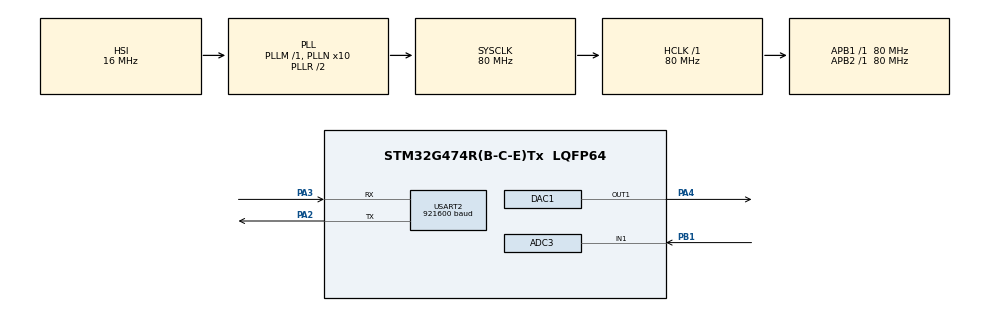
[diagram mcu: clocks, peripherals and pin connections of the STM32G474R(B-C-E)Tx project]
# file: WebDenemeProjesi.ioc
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ADC3.Channel-1\#ChannelRegularConversion=ADC_CHANNEL_1
ADC3.ClockPrescaler=ADC_CLOCK_ASYNC_DIV4
ADC3.ContinuousConvMode=DISABLE
ADC3.DMAContinuousRequests=ENABLE
ADC3.ExternalTrigConv=ADC_EXTERNALTRIG_T6_TRGO
ADC3.NbrOfConversionFlag=1
ADC3.OffsetNumber-1\#ChannelRegularConversion=ADC_OFFSET_NONE
ADC3.Overrun=ADC_OVR_DATA_OVERWRITTEN
ADC3.Rank-1\#ChannelRegularConversion=1
ADC3.SamplingTime-1\#ChannelRegularConversion=ADC_SAMPLETIME_247CYCLES_5
ADC3.master=1
DAC1.DAC_Trigger_OUT1-DAC_OUT1=DAC_TRIGGER_T7_TRGO
Dma.ADC3.1.Direction=DMA_PERIPH_TO_MEMORY
Dma.ADC3.1.EventEnable=DISABLE
Dma.ADC3.1.Instance=DMA1_Channel2
Dma.ADC3.1.MemDataAlignment=DMA_MDATAALIGN_HALFWORD
Dma.ADC3.1.MemInc=DMA_MINC_ENABLE
Dma.ADC3.1.Mode=DMA_CIRCULAR
Dma.ADC3.1.PeriphDataAlignment=DMA_PDATAALIGN_HALFWORD
Dma.ADC3.1.PeriphInc=DMA_PINC_DISABLE
Dma.ADC3.1.Polarity=HAL_DMAMUX_REQ_GEN_RISING
Dma.ADC3.1.Priority=DMA_PRIORITY_HIGH
Dma.ADC3.1.RequestNumber=1
Dma.ADC3.1.SignalID=NONE
Dma.ADC3.1.SyncEnable=DISABLE
Dma.ADC3.1.SyncPolarity=HAL_DMAMUX_SYNC_NO_EVENT
Dma.ADC3.1.SyncRequestNumber=1
Dma.ADC3.1.SyncSignalID=NONE
Dma.DAC1_CH1.2.Direction=DMA_MEMORY_TO_PERIPH
Dma.DAC1_CH1.2.EventEnable=DISABLE
Dma.DAC1_CH1.2.Instance=DMA1_Channel1
Dma.DAC1_CH1.2.MemDataAlignment=DMA_MDATAALIGN_HALFWORD
Dma.DAC1_CH1.2.MemInc=DMA_MINC_ENABLE
Dma.DAC1_CH1.2.Mode=DMA_CIRCULAR
Dma.DAC1_CH1.2.PeriphDataAlignment=DMA_PDATAALIGN_HALFWORD
Dma.DAC1_CH1.2.PeriphInc=DMA_PINC_DISABLE
Dma.DAC1_CH1.2.Polarity=HAL_DMAMUX_REQ_GEN_RISING
Dma.DAC1_CH1.2.Priority=DMA_PRIORITY_HIGH
Dma.DAC1_CH1.2.RequestNumber=1
Dma.DAC1_CH1.2.SignalID=NONE
Dma.DAC1_CH1.2.SyncEnable=DISABLE
Dma.DAC1_CH1.2.SyncPolarity=HAL_DMAMUX_SYNC_NO_EVENT
Dma.DAC1_CH1.2.SyncRequestNumber=1
Dma.DAC1_CH1.2.SyncSignalID=NONE
Dma.Request0=USART2_TX
Dma.Request1=ADC3
Dma.Request2=DAC1_CH1
Dma.USART2_TX.0.Direction=DMA_MEMORY_TO_PERIPH
Dma.USART2_TX.0.EventEnable=DISABLE
Dma.USART2_TX.0.Instance=DMA1_Channel3
Dma.USART2_TX.0.MemDataAlignment=DMA_MDATAALIGN_HALFWORD
Dma.USART2_TX.0.MemInc=DMA_MINC_ENABLE
Dma.USART2_TX.0.Mode=DMA_NORMAL
Dma.USART2_TX.0.PeriphDataAlignment=DMA_PDATAALIGN_BYTE
Dma.USART2_TX.0.PeriphInc=DMA_PINC_DISABLE
Dma.USART2_TX.0.Polarity=HAL_DMAMUX_REQ_GEN_RISING
Dma.USART2_TX.0.Priority=DMA_PRIORITY_HIGH
Dma.USART2_TX.0.RequestNumber=1
Dma.USART2_TX.0.SignalID=NONE
Dma.USART2_TX.0.SyncEnable=DISABLE
Dma.USART2_TX.0.SyncPolarity=HAL_DMAMUX_SYNC_NO_EVENT
Dma.USART2_TX.0.SyncRequestNumber=1
Dma.USART2_TX.0.SyncSignalID=NONE
Mcu.Family=STM32G4
Mcu.Name=STM32G474R(B-C-E)Tx
Mcu.Package=LQFP64
NVIC.DMA1_Channel1_IRQn=true\:0\:0\:false\:false\:true\:false\:true\:true
NVIC.DMA1_Channel2_IRQn=true\:0\:0\:false\:false\:true\:false\:true\:true
NVIC.DMA1_Channel3_IRQn=true\:0\:0\:false\:false\:true\:false\:true\:true
NVIC.PriorityGroup=NVIC_PRIORITYGROUP_4
PA2.Mode=Asynchronous
PA2.Signal=USART2_TX
PA3.Mode=Asynchronous
PA3.Signal=USART2_RX
PA4.Signal=COMP_DAC11_group
PB1.Mode=IN1-Single-Ended
PB1.Signal=ADC3_IN1
ProjectManager.HeapSize=0x200
ProjectManager.StackSize=0x400
ProjectManager.TargetToolchain=STM32CubeIDE
RCC.ADC12Freq_Value=80000000
RCC.ADC345Freq_Value=80000000
RCC.AHBFreq_Value=80000000
RCC.APB1Freq_Value=80000000
RCC.APB1TimFreq_Value=80000000
RCC.APB2Freq_Value=80000000
RCC.APB2TimFreq_Value=80000000
RCC.CortexFreq_Value=80000000
RCC.EXTERNAL_CLOCK_VALUE=12288000
RCC.HCLKFreq_Value=80000000
RCC.HSE_VALUE=8000000
RCC.HSI48_VALUE=48000000
RCC.HSI_VALUE=16000000
RCC.LSE_VALUE=32768
RCC.PLLN=10
RCC.PLLP=RCC_PLLP_DIV4
RCC.SYSCLKFreq_VALUE=80000000
RCC.SYSCLKSource=RCC_SYSCLKSOURCE_PLLCLK
RCC.USBFreq_Value=80000000
RCC.VCOOutputFreq_Value=160000000
SH.COMP_DAC11_group.0=DAC1_OUT1,DAC_OUT1
TIM6.PeriodNoDither=999
TIM6.Prescaler=799
TIM6.TIM_MasterOutputTrigger=TIM_TRGO_UPDATE
TIM7.PeriodNoDither=999
TIM7.Prescaler=\ 799
TIM7.TIM_MasterOutputTrigger=TIM_TRGO_UPDATE
USART2.BaudRate=921600
USART2.VirtualMode-Asynchronous=VM_ASYNC
VP_SYS_VS_DBSignals.Mode=DisableDeadBatterySignals
VP_TIM6_VS_ClockSourceINT.Mode=Enable_Timer
VP_TIM7_VS_ClockSourceINT.Mode=Enable_Timer
board=custom

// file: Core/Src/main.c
/* USER CODE BEGIN Header */
/**
  ******************************************************************************
  * @file           : main.c
  * @brief          : Main program body
  ******************************************************************************
  * @attention
  *
  * Copyright (c) 2025 STMicroelectronics.
  * All rights reserved.
  *
  * This software is licensed under terms that can be found in the LICENSE file
  * in the root directory of this software component.
  * If no LICENSE file comes with this software, it is provided AS-IS.
  *
  ******************************************************************************
  */
/* USER CODE END Header */
#include "main.h"

/* USER CODE BEGIN Includes */
#include <math.h>
#include <stdio.h>
#include <string.h>
#ifndef M_PI
#define M_PI 3.14159265358979323846f
#endif
/* USER CODE END Includes */

/* USER CODE BEGIN PD */
#define DEBUG_ASCII    1   // 1: ASCII debug çıktısı; 0: binary DMA
/* USER CODE END PD */

ADC_HandleTypeDef hadc3;
DMA_HandleTypeDef hdma_adc3;

DAC_HandleTypeDef hdac1;
DMA_HandleTypeDef hdma_dac1_ch1;

TIM_HandleTypeDef htim6;
TIM_HandleTypeDef htim7;

UART_HandleTypeDef huart2;
DMA_HandleTypeDef hdma_usart2_tx;

/* USER CODE BEGIN PV */
static volatile uint8_t dbg_gate = 0;  // çok fazla yazmayı engellemek için
volatile uint8_t uart_ready = 1;       // UART DMA hazır bayrağı

#define SINE_LEN       256
#define ADC_BUF_LEN    1024

volatile uint16_t adc_buf[ADC_BUF_LEN];  // ADC DMA buffer
uint16_t dac_wave[SINE_LEN];             // DAC sinüs dalga tablosu
/* USER CODE END PV */

void SystemClock_Config(void);
static void MX_GPIO_Init(void);
static void MX_DMA_Init(void);
static void MX_DAC1_Init(void);
static void MX_ADC3_Init(void);
static void MX_USART2_UART_Init(void);
static void MX_TIM7_Init(void);
static void MX_TIM6_Init(void);

/* USER CODE BEGIN 0 */

// ADC'yi güvenli şekilde yeniden başlat
static void Restart_ADC(void)
{
    HAL_ADC_Stop_DMA(&hadc3);
    (void)HAL_ADCEx_Calibration_Start(&hadc3, ADC_SINGLE_ENDED);
    memset((void*)adc_buf, 0, sizeof(adc_buf));
    (void)HAL_ADC_Start_DMA(&hadc3, (uint32_t*)adc_buf, ADC_BUF_LEN);
}

// ADC hata callback'i
void HAL_ADC_ErrorCallback(ADC_HandleTypeDef* hadc)
{
    if (hadc->Instance == ADC3) {
        Restart_ADC();
    }
}

// Sinüs dalga tablosunu doldur (DAC için 12-bit, 0-4095 aralığında)
void Fill_SineWave(void)
{
    const int mid = 2048;   // ~1.65V merkez (3.3V/2)
    const int amp = 1500;   // güvenli genlik (maksimum çıkış ~2.9V)

    for (int i = 0; i < SINE_LEN; i++)
    {
        float s = sinf(2.0f * M_PI * (float)i / (float)SINE_LEN);
        int v   = mid + (int)(amp * s);
        if (v < 0)    v = 0;
        if (v > 4095) v = 4095;
        dac_wave[i] = (uint16_t)v;
    }
}

// Debug fonksiyonu - ADC verilerini analiz ederek TeraTerm'e yazdır
static void UART_Print_ADC_Analysis(const uint16_t *src, size_t count)
{
    char line[80];

    // İstatistik analizi
    uint16_t local_min = 4095, local_max = 0;
    uint32_t local_sum = 0;

    for (size_t i = 0; i < count; i++)
    {
        if (src[i] < local_min) local_min = src[i];
        if (src[i] > local_max) local_max = src[i];
        local_sum += src[i];

        // İlk 8 değeri detaylı yazdır (voltaj = adc_val * 3300 / 4095 mV)
        if (i < 8) {
            uint32_t voltage_mv = (src[i] * 3300) / 4095;
            int n = snprintf(line, sizeof(line), "ADC[%u]: %u (%u.%03uV)\r\n",
                           (unsigned)i, (unsigned)src[i],
                           (unsigned)(voltage_mv/1000), (unsigned)(voltage_mv%1000));
            if (n > 0) HAL_UART_Transmit(&huart2, (uint8_t*)line, (uint16_t)n, 100);
        }
    }

    uint16_t local_avg = (uint16_t)(local_sum / count);

    // İstatistikleri voltaj cinsinden yazdır
    uint32_t min_mv = (local_min * 3300) / 4095;
    uint32_t max_mv = (local_max * 3300) / 4095;
    uint32_t avg_mv = (local_avg * 3300) / 4095;

    int n = snprintf(line, sizeof(line),
                    "MIN:%u(%u.%03uV) MAX:%u(%u.%03uV) AVG:%u(%u.%03uV)\r\n",
                    (unsigned)local_min, (unsigned)(min_mv/1000), (unsigned)(min_mv%1000),
                    (unsigned)local_max, (unsigned)(max_mv/1000), (unsigned)(max_mv%1000),
                    (unsigned)local_avg, (unsigned)(avg_mv/1000), (unsigned)(avg_mv%1000));
    if (n > 0) HAL_UART_Transmit(&huart2, (uint8_t*)line, (uint16_t)n, 150);

    // Ayıraç
    HAL_UART_Transmit(&huart2, (uint8_t*)"================================\r\n", 34, 50);
}
/*
// Binary mod için ham veri yazdırma (şu anda kullanılmıyor)
static void UART_Print_U16_List(const uint16_t *src, size_t count)
{
    char line[16];
    for (size_t i = 0; i < count; i++)
    {
        int n = snprintf(line, sizeof(line), "%u\r\n", (unsigned)src[i]);
        if (n > 0)
            HAL_UART_Transmit(&huart2, (uint8_t*)line, (uint16_t)n, 50);
    }
}
*/
// ADC DMA yarım dolduğunda tetiklenir
void HAL_ADC_ConvHalfCpltCallback(ADC_HandleTypeDef* hadc)
{
    if (hadc->Instance == ADC3)
    {
#if DEBUG_ASCII
        if (!dbg_gate) {                  // debug modunda seyrek yazdır
            dbg_gate = 1;
            UART_Print_ADC_Analysis((const uint16_t*)adc_buf, 32); // İlk yarının bir kısmını analiz et
        }
#else
        // Binary mod: ham veriyi DMA ile gönder
        if (uart_ready) {
            uart_ready = 0;
            // UART DMA bitene kadar bekle (çakışmayı önler)
            uint32_t timeout = 1000;
            while((huart2.gState != HAL_UART_STATE_READY) && (timeout--)) {
                HAL_Delay(1);
            }
            HAL_UART_Transmit_DMA(&huart2,
                                   (uint8_t*)adc_buf,
                                   (ADC_BUF_LEN/2) * sizeof(uint16_t));
        }
#endif
    }
}

// ADC DMA tamamen dolduğunda tetiklenir
void HAL_ADC_ConvCpltCallback(ADC_HandleTypeDef* hadc)
{
    if (hadc->Instance == ADC3)
    {
#if DEBUG_ASCII
        if (!dbg_gate) {
            dbg_gate = 1;
            UART_Print_ADC_Analysis((const uint16_t*)&adc_buf[ADC_BUF_LEN/2], 32);  // İkinci yarının bir kısmını analiz et
        }
#else
        // Binary mod: ham veriyi DMA ile gönder
        if (uart_ready) {
            uart_ready = 0;
            // UART DMA bitene kadar bekle (çakışmayı önler)
            uint32_t timeout = 1000;
            while((huart2.gState != HAL_UART_STATE_READY) && (timeout--)) {
                HAL_Delay(1);
            }
            HAL_UART_Transmit_DMA(&huart2,
                                   (uint8_t*)&adc_buf[ADC_BUF_LEN/2],
                                   (ADC_BUF_LEN/2) * sizeof(uint16_t));
        }
#endif
    }
}

// UART DMA tamamlandığında - tekrar gönderime hazır
void HAL_UART_TxCpltCallback(UART_HandleTypeDef *huart)
{
    if (huart->Instance == USART2)
        uart_ready = 1;
}

// UART hata durumu
void HAL_UART_ErrorCallback(UART_HandleTypeDef *huart)
{
    if (huart->Instance == USART2) {
        HAL_UART_AbortTransmit(huart);
        uart_ready = 1;
    }
}

/* USER CODE END 0 */

int main(void)
{

  /* MCU Configuration--------------------------------------------------------*/

  /* Reset of all peripherals, Initializes the Flash interface and the Systick. */
  HAL_Init();

  /* Configure the system clock */
  SystemClock_Config();

  /* Initialize all configured peripherals */
  MX_GPIO_Init();
  MX_DMA_Init();
  MX_DAC1_Init();
  MX_ADC3_Init();
  MX_USART2_UART_Init();
  MX_TIM7_Init();
  MX_TIM6_Init();
  /* USER CODE BEGIN 2 */

  // Başlangıç mesajı
  char init_msg[] = "STM32 DAC+ADC System Starting...\r\n";
  HAL_UART_Transmit(&huart2, (uint8_t*)init_msg, strlen(init_msg), 1000);

  // 1) Sinüs dalga tablosunu hazırla
  Fill_SineWave();

  // 2) DAC CH1 (PA4) DMA + TIM7 TRGO ile hazırla
  if (HAL_DAC_Start_DMA(&hdac1, DAC_CHANNEL_1,
                       (uint32_t*)dac_wave, SINE_LEN, DAC_ALIGN_12B_R) != HAL_OK) {
      Error_Handler();
  }

  // 3) ADC3 (PB1) kalibrasyon ve DMA hazırlığı
  if (HAL_ADCEx_Calibration_Start(&hadc3, ADC_SINGLE_ENDED) != HAL_OK) {
      Error_Handler();
  }
  if (HAL_ADC_Start_DMA(&hadc3, (uint32_t*)adc_buf, ADC_BUF_LEN) != HAL_OK) {
      Error_Handler();
  }

  // 4) Timer'ları başlat - DAC ve ADC senkron olarak başlar
  if (HAL_TIM_Base_Start(&htim7) != HAL_OK) {   // TIM7 -> DAC trigger
      Error_Handler();
  }
  if (HAL_TIM_Base_Start(&htim6) != HAL_OK) {   // TIM6 -> ADC trigger
      Error_Handler();
  }

  // Başlangıç tamamlandı mesajı
  char ready_msg[] = "System Ready! DAC: PA4, ADC: PB1\r\n";
  HAL_UART_Transmit(&huart2, (uint8_t*)ready_msg, strlen(ready_msg), 1000);

  /* USER CODE END 2 */

  /* Infinite loop */
  while (1)
  {

    /* USER CODE BEGIN 3 */
#if DEBUG_ASCII
    dbg_gate = 0;      // her seferinde debug yazdırılmasını sağla
    HAL_Delay(250);    // ~4 Hz yazdır (TeraTerm için uygun hız)
#else
    HAL_Delay(10);     // Binary modda daha hızlı çevrim
#endif
  }
  /* USER CODE END 3 */
}

void SystemClock_Config(void)
{
  RCC_OscInitTypeDef RCC_OscInitStruct = {0};
  RCC_ClkInitTypeDef RCC_ClkInitStruct = {0};

  /** Configure the main internal regulator output voltage
  */
  HAL_PWREx_ControlVoltageScaling(PWR_REGULATOR_VOLTAGE_SCALE1);

  /** Initializes the RCC Oscillators according to the specified parameters
  * in the RCC_OscInitTypeDef structure.
  */
  RCC_OscInitStruct.OscillatorType = RCC_OSCILLATORTYPE_HSI;
  RCC_OscInitStruct.HSIState = RCC_HSI_ON;
  RCC_OscInitStruct.HSICalibrationValue = RCC_HSICALIBRATION_DEFAULT;
  RCC_OscInitStruct.PLL.PLLState = RCC_PLL_ON;
  RCC_OscInitStruct.PLL.PLLSource = RCC_PLLSOURCE_HSI;
  RCC_OscInitStruct.PLL.PLLM = RCC_PLLM_DIV1;
  RCC_OscInitStruct.PLL.PLLN = 10;
  RCC_OscInitStruct.PLL.PLLP = RCC_PLLP_DIV4;
  RCC_OscInitStruct.PLL.PLLQ = RCC_PLLQ_DIV2;
  RCC_OscInitStruct.PLL.PLLR = RCC_PLLR_DIV2;
  if (HAL_RCC_OscConfig(&RCC_OscInitStruct) != HAL_OK)
  {
    Error_Handler();
  }

  /** Initializes the CPU, AHB and APB buses clocks
  */
  RCC_ClkInitStruct.ClockType = RCC_CLOCKTYPE_HCLK|RCC_CLOCKTYPE_SYSCLK
                              |RCC_CLOCKTYPE_PCLK1|RCC_CLOCKTYPE_PCLK2;
  RCC_ClkInitStruct.SYSCLKSource = RCC_SYSCLKSOURCE_PLLCLK;
  RCC_ClkInitStruct.AHBCLKDivider = RCC_SYSCLK_DIV1;
  RCC_ClkInitStruct.APB1CLKDivider = RCC_HCLK_DIV1;
  RCC_ClkInitStruct.APB2CLKDivider = RCC_HCLK_DIV1;

  if (HAL_RCC_ClockConfig(&RCC_ClkInitStruct, FLASH_LATENCY_2) != HAL_OK)
  {
    Error_Handler();
  }
}

static void MX_ADC3_Init(void)
{

  ADC_MultiModeTypeDef multimode = {0};
  ADC_ChannelConfTypeDef sConfig = {0};

  /** Common config
  */
  hadc3.Instance = ADC3;
  hadc3.Init.ClockPrescaler = ADC_CLOCK_ASYNC_DIV4;
  hadc3.Init.Resolution = ADC_RESOLUTION_12B;
  hadc3.Init.DataAlign = ADC_DATAALIGN_RIGHT;
  hadc3.Init.GainCompensation = 0;
  hadc3.Init.ScanConvMode = ADC_SCAN_DISABLE;
  hadc3.Init.EOCSelection = ADC_EOC_SINGLE_CONV;
  hadc3.Init.LowPowerAutoWait = DISABLE;
  hadc3.Init.ContinuousConvMode = DISABLE;
  hadc3.Init.NbrOfConversion = 1;
  hadc3.Init.DiscontinuousConvMode = DISABLE;
  hadc3.Init.ExternalTrigConv = ADC_EXTERNALTRIG_T6_TRGO;
  hadc3.Init.ExternalTrigConvEdge = ADC_EXTERNALTRIGCONVEDGE_RISING;
  hadc3.Init.DMAContinuousRequests = ENABLE;
  hadc3.Init.Overrun = ADC_OVR_DATA_OVERWRITTEN;
  hadc3.Init.OversamplingMode = DISABLE;
  if (HAL_ADC_Init(&hadc3) != HAL_OK)
  {
    Error_Handler();
  }

  /** Configure the ADC multi-mode
  */
  multimode.Mode = ADC_MODE_INDEPENDENT;
  if (HAL_ADCEx_MultiModeConfigChannel(&hadc3, &multimode) != HAL_OK)
  {
    Error_Handler();
  }

  /** Configure Regular Channel
  */
  sConfig.Channel = ADC_CHANNEL_1;
  sConfig.Rank = ADC_REGULAR_RANK_1;
  sConfig.SamplingTime = ADC_SAMPLETIME_247CYCLES_5;
  sConfig.SingleDiff = ADC_SINGLE_ENDED;
  sConfig.OffsetNumber = ADC_OFFSET_NONE;
  sConfig.Offset = 0;
  if (HAL_ADC_ConfigChannel(&hadc3, &sConfig) != HAL_OK)
  {
    Error_Handler();
  }

}

static void MX_DAC1_Init(void)
{

  DAC_ChannelConfTypeDef sConfig = {0};

  /** DAC Initialization
  */
  hdac1.Instance = DAC1;
  if (HAL_DAC_Init(&hdac1) != HAL_OK)
  {
    Error_Handler();
  }

  /** DAC channel OUT1 config
  */
  sConfig.DAC_HighFrequency = DAC_HIGH_FREQUENCY_INTERFACE_MODE_AUTOMATIC;
  sConfig.DAC_DMADoubleDataMode = DISABLE;
  sConfig.DAC_SignedFormat = DISABLE;
  sConfig.DAC_SampleAndHold = DAC_SAMPLEANDHOLD_DISABLE;
  sConfig.DAC_Trigger = DAC_TRIGGER_T7_TRGO;
  sConfig.DAC_Trigger2 = DAC_TRIGGER_NONE;
  sConfig.DAC_OutputBuffer = DAC_OUTPUTBUFFER_ENABLE;
  sConfig.DAC_ConnectOnChipPeripheral = DAC_CHIPCONNECT_EXTERNAL;
  sConfig.DAC_UserTrimming = DAC_TRIMMING_FACTORY;
  if (HAL_DAC_ConfigChannel(&hdac1, &sConfig, DAC_CHANNEL_1) != HAL_OK)
  {
    Error_Handler();
  }

}

static void MX_TIM6_Init(void)
{

  TIM_MasterConfigTypeDef sMasterConfig = {0};

  htim6.Instance = TIM6;
  htim6.Init.Prescaler = 799;
  htim6.Init.CounterMode = TIM_COUNTERMODE_UP;
  htim6.Init.Period = 999;
  htim6.Init.AutoReloadPreload = TIM_AUTORELOAD_PRELOAD_DISABLE;
  if (HAL_TIM_Base_Init(&htim6) != HAL_OK)
  {
    Error_Handler();
  }
  sMasterConfig.MasterOutputTrigger = TIM_TRGO_UPDATE;
  sMasterConfig.MasterSlaveMode = TIM_MASTERSLAVEMODE_DISABLE;
  if (HAL_TIMEx_MasterConfigSynchronization(&htim6, &sMasterConfig) != HAL_OK)
  {
    Error_Handler();
  }

}

static void MX_TIM7_Init(void)
{

  TIM_MasterConfigTypeDef sMasterConfig = {0};

  htim7.Instance = TIM7;
  htim7.Init.Prescaler = 799;
  htim7.Init.CounterMode = TIM_COUNTERMODE_UP;
  htim7.Init.Period = 999;
  htim7.Init.AutoReloadPreload = TIM_AUTORELOAD_PRELOAD_DISABLE;
  if (HAL_TIM_Base_Init(&htim7) != HAL_OK)
  {
    Error_Handler();
  }
  sMasterConfig.MasterOutputTrigger = TIM_TRGO_UPDATE;
  sMasterConfig.MasterSlaveMode = TIM_MASTERSLAVEMODE_DISABLE;
  if (HAL_TIMEx_MasterConfigSynchronization(&htim7, &sMasterConfig) != HAL_OK)
  {
    Error_Handler();
  }

}

static void MX_USART2_UART_Init(void)
{

  huart2.Instance = USART2;
  huart2.Init.BaudRate = 921600;
  huart2.Init.WordLength = UART_WORDLENGTH_8B;
  huart2.Init.StopBits = UART_STOPBITS_1;
  huart2.Init.Parity = UART_PARITY_NONE;
  huart2.Init.Mode = UART_MODE_TX_RX;
  huart2.Init.HwFlowCtl = UART_HWCONTROL_NONE;
  huart2.Init.OverSampling = UART_OVERSAMPLING_16;
  huart2.Init.OneBitSampling = UART_ONE_BIT_SAMPLE_DISABLE;
  huart2.Init.ClockPrescaler = UART_PRESCALER_DIV1;
  huart2.AdvancedInit.AdvFeatureInit = UART_ADVFEATURE_NO_INIT;
  if (HAL_UART_Init(&huart2) != HAL_OK)
  {
    Error_Handler();
  }
  if (HAL_UARTEx_SetTxFifoThreshold(&huart2, UART_TXFIFO_THRESHOLD_1_8) != HAL_OK)
  {
    Error_Handler();
  }
  if (HAL_UARTEx_SetRxFifoThreshold(&huart2, UART_RXFIFO_THRESHOLD_1_8) != HAL_OK)
  {
    Error_Handler();
  }
  if (HAL_UARTEx_DisableFifoMode(&huart2) != HAL_OK)
  {
    Error_Handler();
  }

}

static void MX_DMA_Init(void)
{

  /* DMA controller clock enable */
  __HAL_RCC_DMAMUX1_CLK_ENABLE();
  __HAL_RCC_DMA1_CLK_ENABLE();

  /* DMA interrupt init */
  /* DMA1_Channel1_IRQn interrupt configuration */
  HAL_NVIC_SetPriority(DMA1_Channel1_IRQn, 0, 0);
  HAL_NVIC_EnableIRQ(DMA1_Channel1_IRQn);
  /* DMA1_Channel2_IRQn interrupt configuration */
  HAL_NVIC_SetPriority(DMA1_Channel2_IRQn, 0, 0);
  HAL_NVIC_EnableIRQ(DMA1_Channel2_IRQn);
  /* DMA1_Channel3_IRQn interrupt configuration */
  HAL_NVIC_SetPriority(DMA1_Channel3_IRQn, 0, 0);
  HAL_NVIC_EnableIRQ(DMA1_Channel3_IRQn);

}

static void MX_GPIO_Init(void)
{

  /* GPIO Ports Clock Enable */
  __HAL_RCC_GPIOA_CLK_ENABLE();
  __HAL_RCC_GPIOB_CLK_ENABLE();

  /* USER CODE BEGIN MX_GPIO_Init_2 */
  GPIO_InitTypeDef GPIO_InitStruct = {0};

  /* PB1 -> ADC3_IN1 : Analog Input */
  GPIO_InitStruct.Pin  = GPIO_PIN_1;
  GPIO_InitStruct.Mode = GPIO_MODE_ANALOG;
  GPIO_InitStruct.Pull = GPIO_NOPULL;
  HAL_GPIO_Init(GPIOB, &GPIO_InitStruct);

  /* PA4 -> DAC1_OUT1 : Analog Output */
  GPIO_InitStruct.Pin  = GPIO_PIN_4;
  GPIO_InitStruct.Mode = GPIO_MODE_ANALOG;
  GPIO_InitStruct.Pull = GPIO_NOPULL;
  HAL_GPIO_Init(GPIOA, &GPIO_InitStruct);
  /* USER CODE END MX_GPIO_Init_2 */
}

void Error_Handler(void)
{
  __disable_irq();
  while (1)
  {
  }
}
